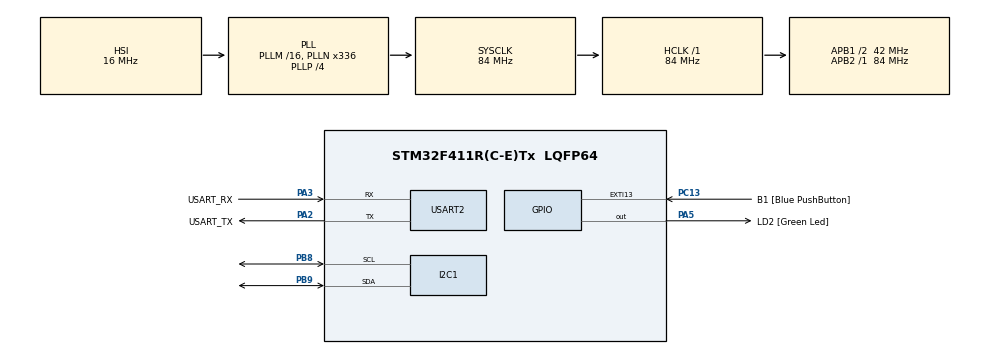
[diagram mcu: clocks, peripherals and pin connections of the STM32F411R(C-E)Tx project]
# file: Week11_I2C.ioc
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Dma.I2C1_RX.0.Direction=DMA_PERIPH_TO_MEMORY
Dma.I2C1_RX.0.FIFOMode=DMA_FIFOMODE_DISABLE
Dma.I2C1_RX.0.Instance=DMA1_Stream0
Dma.I2C1_RX.0.MemDataAlignment=DMA_MDATAALIGN_BYTE
Dma.I2C1_RX.0.MemInc=DMA_MINC_ENABLE
Dma.I2C1_RX.0.Mode=DMA_NORMAL
Dma.I2C1_RX.0.PeriphDataAlignment=DMA_PDATAALIGN_BYTE
Dma.I2C1_RX.0.PeriphInc=DMA_PINC_DISABLE
Dma.I2C1_RX.0.Priority=DMA_PRIORITY_LOW
Dma.I2C1_TX.1.Direction=DMA_MEMORY_TO_PERIPH
Dma.I2C1_TX.1.FIFOMode=DMA_FIFOMODE_DISABLE
Dma.I2C1_TX.1.Instance=DMA1_Stream1
Dma.I2C1_TX.1.MemDataAlignment=DMA_MDATAALIGN_BYTE
Dma.I2C1_TX.1.MemInc=DMA_MINC_ENABLE
Dma.I2C1_TX.1.Mode=DMA_NORMAL
Dma.I2C1_TX.1.PeriphDataAlignment=DMA_PDATAALIGN_BYTE
Dma.I2C1_TX.1.PeriphInc=DMA_PINC_DISABLE
Dma.I2C1_TX.1.Priority=DMA_PRIORITY_LOW
Dma.Request0=I2C1_RX
Dma.Request1=I2C1_TX
I2C1.I2C_Mode=I2C_Fast
Mcu.Family=STM32F4
Mcu.Name=STM32F411R(C-E)Tx
Mcu.Package=LQFP64
NVIC.DMA1_Stream0_IRQn=true\:0\:0\:false\:false\:true\:false\:true\:true
NVIC.DMA1_Stream1_IRQn=true\:0\:0\:false\:false\:true\:false\:true\:true
NVIC.I2C1_ER_IRQn=true\:0\:0\:false\:false\:true\:true\:true\:true
NVIC.I2C1_EV_IRQn=true\:0\:0\:false\:false\:true\:true\:true\:true
NVIC.PriorityGroup=NVIC_PRIORITYGROUP_0
PA13.GPIO_Label=TMS
PA13.Mode=Serial_Wire
PA13.Signal=SYS_JTMS-SWDIO
PA14.GPIO_Label=TCK
PA14.Mode=Serial_Wire
PA14.Signal=SYS_JTCK-SWCLK
PA2.GPIO_Label=USART_TX
PA2.Mode=Asynchronous
PA2.Signal=USART2_TX
PA3.GPIO_Label=USART_RX
PA3.Mode=Asynchronous
PA3.Signal=USART2_RX
PA5.GPIO_Label=LD2 [Green Led]
PA5.Signal=GPIO_Output
PB3.GPIO_Label=SWO
PB3.Signal=SYS_JTDO-SWO
PB8.Mode=I2C
PB8.Signal=I2C1_SCL
PB9.Mode=I2C
PB9.Signal=I2C1_SDA
PC13-ANTI_TAMP.GPIO_Label=B1 [Blue PushButton]
PC13-ANTI_TAMP.GPIO_ModeDefaultEXTI=GPIO_MODE_IT_FALLING
PC13-ANTI_TAMP.Signal=GPXTI13
PC14-OSC32_IN.Mode=LSE-External-Oscillator
PC14-OSC32_IN.Signal=RCC_OSC32_IN
PC15-OSC32_OUT.Mode=LSE-External-Oscillator
PC15-OSC32_OUT.Signal=RCC_OSC32_OUT
PH0\ -\ OSC_IN.Mode=HSE-External-Clock-Source
PH0\ -\ OSC_IN.Signal=RCC_OSC_IN
PH1\ -\ OSC_OUT.Mode=HSE-External-Clock-Source
PH1\ -\ OSC_OUT.Signal=RCC_OSC_OUT
ProjectManager.HeapSize=0x200
ProjectManager.StackSize=0x400
ProjectManager.TargetToolchain=STM32CubeIDE
RCC.48MHZClocksFreq_Value=84000000
RCC.AHBFreq_Value=84000000
RCC.APB1CLKDivider=RCC_HCLK_DIV2
RCC.APB1Freq_Value=42000000
RCC.APB1TimFreq_Value=84000000
RCC.APB2Freq_Value=84000000
RCC.APB2TimFreq_Value=84000000
RCC.CortexFreq_Value=84000000
RCC.FLatency-AdvancedSettings=FLASH_LATENCY_2
RCC.HCLKFreq_Value=84000000
RCC.HSE_VALUE=8000000
RCC.HSI_VALUE=16000000
RCC.PLLN=336
RCC.PLLP=RCC_PLLP_DIV4
RCC.SYSCLKFreq_VALUE=84000000
RCC.SYSCLKSource=RCC_SYSCLKSOURCE_PLLCLK
RCC.VCOOutputFreq_Value=336000000
USART2.VirtualMode=VM_ASYNC
board=NUCLEO-F411RE

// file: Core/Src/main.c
/* USER CODE BEGIN Header */
/**
  ******************************************************************************
  * @file           : main.c
  * @brief          : Main program body
  ******************************************************************************
  * @attention
  *
  * Copyright (c) 2023 STMicroelectronics.
  * All rights reserved.
  *
  * This software is licensed under terms that can be found in the LICENSE file
  * in the root directory of this software component.
  * If no LICENSE file comes with this software, it is provided AS-IS.
  *
  ******************************************************************************
  */
/* USER CODE END Header */
#include "main.h"

/* USER CODE BEGIN PD */
#define EEPROM_Address 0b10100000
/* USER CODE END PD */

I2C_HandleTypeDef hi2c1;
DMA_HandleTypeDef hdma_i2c1_rx;
DMA_HandleTypeDef hdma_i2c1_tx;

UART_HandleTypeDef huart2;

/* USER CODE BEGIN PV */
uint8_t eepromExWriteFlag = 0;
uint8_t eepromExReadFlag = 0;
uint8_t eepromDataReadBack[4];
/* USER CODE END PV */

void SystemClock_Config(void);
static void MX_GPIO_Init(void);
static void MX_DMA_Init(void);
static void MX_USART2_UART_Init(void);
static void MX_I2C1_Init(void);

int main(void)
{

  /* MCU Configuration--------------------------------------------------------*/

  /* Reset of all peripherals, Initializes the Flash interface and the Systick. */
  HAL_Init();

  /* Configure the system clock */
  SystemClock_Config();

  /* Initialize all configured peripherals */
  MX_GPIO_Init();
  MX_DMA_Init();
  MX_USART2_UART_Init();
  MX_I2C1_Init();

  /* Infinite loop */
  while (1)
  {

    /* USER CODE BEGIN 3 */
	  EEPROMWriteExample();
	  EEPROMReadExample(eepromDataReadBack, 4);
  }
  /* USER CODE END 3 */
}

void SystemClock_Config(void)
{
  RCC_OscInitTypeDef RCC_OscInitStruct = {0};
  RCC_ClkInitTypeDef RCC_ClkInitStruct = {0};

  /** Configure the main internal regulator output voltage
  */
  __HAL_RCC_PWR_CLK_ENABLE();
  __HAL_PWR_VOLTAGESCALING_CONFIG(PWR_REGULATOR_VOLTAGE_SCALE1);

  /** Initializes the RCC Oscillators according to the specified parameters
  * in the RCC_OscInitTypeDef structure.
  */
  RCC_OscInitStruct.OscillatorType = RCC_OSCILLATORTYPE_HSI;
  RCC_OscInitStruct.HSIState = RCC_HSI_ON;
  RCC_OscInitStruct.HSICalibrationValue = RCC_HSICALIBRATION_DEFAULT;
  RCC_OscInitStruct.PLL.PLLState = RCC_PLL_ON;
  RCC_OscInitStruct.PLL.PLLSource = RCC_PLLSOURCE_HSI;
  RCC_OscInitStruct.PLL.PLLM = 16;
  RCC_OscInitStruct.PLL.PLLN = 336;
  RCC_OscInitStruct.PLL.PLLP = RCC_PLLP_DIV4;
  RCC_OscInitStruct.PLL.PLLQ = 4;
  if (HAL_RCC_OscConfig(&RCC_OscInitStruct) != HAL_OK)
  {
    Error_Handler();
  }

  /** Initializes the CPU, AHB and APB buses clocks
  */
  RCC_ClkInitStruct.ClockType = RCC_CLOCKTYPE_HCLK|RCC_CLOCKTYPE_SYSCLK
                              |RCC_CLOCKTYPE_PCLK1|RCC_CLOCKTYPE_PCLK2;
  RCC_ClkInitStruct.SYSCLKSource = RCC_SYSCLKSOURCE_PLLCLK;
  RCC_ClkInitStruct.AHBCLKDivider = RCC_SYSCLK_DIV1;
  RCC_ClkInitStruct.APB1CLKDivider = RCC_HCLK_DIV2;
  RCC_ClkInitStruct.APB2CLKDivider = RCC_HCLK_DIV1;

  if (HAL_RCC_ClockConfig(&RCC_ClkInitStruct, FLASH_LATENCY_2) != HAL_OK)
  {
    Error_Handler();
  }
}

static void MX_I2C1_Init(void)
{

  hi2c1.Instance = I2C1;
  hi2c1.Init.ClockSpeed = 400000;
  hi2c1.Init.DutyCycle = I2C_DUTYCYCLE_2;
  hi2c1.Init.OwnAddress1 = 0;
  hi2c1.Init.AddressingMode = I2C_ADDRESSINGMODE_7BIT;
  hi2c1.Init.DualAddressMode = I2C_DUALADDRESS_DISABLE;
  hi2c1.Init.OwnAddress2 = 0;
  hi2c1.Init.GeneralCallMode = I2C_GENERALCALL_DISABLE;
  hi2c1.Init.NoStretchMode = I2C_NOSTRETCH_DISABLE;
  if (HAL_I2C_Init(&hi2c1) != HAL_OK)
  {
    Error_Handler();
  }

}

static void MX_USART2_UART_Init(void)
{

  huart2.Instance = USART2;
  huart2.Init.BaudRate = 115200;
  huart2.Init.WordLength = UART_WORDLENGTH_8B;
  huart2.Init.StopBits = UART_STOPBITS_1;
  huart2.Init.Parity = UART_PARITY_NONE;
  huart2.Init.Mode = UART_MODE_TX_RX;
  huart2.Init.HwFlowCtl = UART_HWCONTROL_NONE;
  huart2.Init.OverSampling = UART_OVERSAMPLING_16;
  if (HAL_UART_Init(&huart2) != HAL_OK)
  {
    Error_Handler();
  }

}

static void MX_DMA_Init(void)
{

  /* DMA controller clock enable */
  __HAL_RCC_DMA1_CLK_ENABLE();

  /* DMA interrupt init */
  /* DMA1_Stream0_IRQn interrupt configuration */
  HAL_NVIC_SetPriority(DMA1_Stream0_IRQn, 0, 0);
  HAL_NVIC_EnableIRQ(DMA1_Stream0_IRQn);
  /* DMA1_Stream1_IRQn interrupt configuration */
  HAL_NVIC_SetPriority(DMA1_Stream1_IRQn, 0, 0);
  HAL_NVIC_EnableIRQ(DMA1_Stream1_IRQn);

}

static void MX_GPIO_Init(void)
{
  GPIO_InitTypeDef GPIO_InitStruct = {0};

  /* GPIO Ports Clock Enable */
  __HAL_RCC_GPIOC_CLK_ENABLE();
  __HAL_RCC_GPIOH_CLK_ENABLE();
  __HAL_RCC_GPIOA_CLK_ENABLE();
  __HAL_RCC_GPIOB_CLK_ENABLE();

  /*Configure GPIO pin Output Level */
  HAL_GPIO_WritePin(LD2_GPIO_Port, LD2_Pin, GPIO_PIN_RESET);

  /*Configure GPIO pin : B1_Pin */
  GPIO_InitStruct.Pin = B1_Pin;
  GPIO_InitStruct.Mode = GPIO_MODE_IT_FALLING;
  GPIO_InitStruct.Pull = GPIO_NOPULL;
  HAL_GPIO_Init(B1_GPIO_Port, &GPIO_InitStruct);

  /*Configure GPIO pin : LD2_Pin */
  GPIO_InitStruct.Pin = LD2_Pin;
  GPIO_InitStruct.Mode = GPIO_MODE_OUTPUT_PP;
  GPIO_InitStruct.Pull = GPIO_NOPULL;
  GPIO_InitStruct.Speed = GPIO_SPEED_FREQ_LOW;
  HAL_GPIO_Init(LD2_GPIO_Port, &GPIO_InitStruct);

}

/* USER CODE BEGIN 4 */
void EEPROMWriteExample()
{
	if(eepromExWriteFlag && hi2c1.State == HAL_I2C_STATE_READY)
	{
		static uint8_t data[4] = {0xff, 0x00, 0x55, 0xaa};
		HAL_I2C_Mem_Write_IT(&hi2c1, EEPROM_Address, 0x2C, I2C_MEMADD_SIZE_16BIT, data, 4);

		eepromExWriteFlag = 0;
	}
}

void EEPROMReadExample(uint8_t *RData, uint16_t len)
{
	if(eepromExReadFlag && hi2c1.State == HAL_I2C_STATE_READY)
	{
		HAL_I2C_Mem_Read_IT(&hi2c1, EEPROM_Address, 0x2C, I2C_MEMADD_SIZE_16BIT, RData, len);

		eepromExReadFlag = 0;
	}
}
/* USER CODE END 4 */

void Error_Handler(void)
{
  __disable_irq();
  while (1)
  {
  }
}
